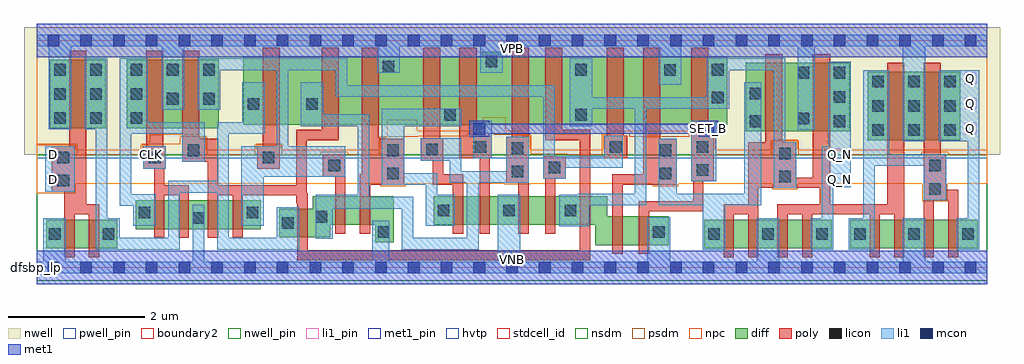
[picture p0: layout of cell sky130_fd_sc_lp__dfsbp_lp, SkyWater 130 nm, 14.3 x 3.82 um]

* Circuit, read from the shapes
.subckt sky130_fd_sc_lp__dfsbp_lp CLK D Q Q_N SET_B VGND VNB VPB VPWR
XM1 n1 D VGND VNB sky130_fd_pr__nfet_01v8 w=0.42 l=0.15
XM2 n2 D n1 VNB sky130_fd_pr__nfet_01v8 w=0.42 l=0.15
XM3 n3 CLK n4 VNB sky130_fd_pr__nfet_01v8 w=0.42 l=0.15
XM4 VGND CLK n3 VNB sky130_fd_pr__nfet_01v8 w=0.42 l=0.15
XM5 n5 n4 VGND VNB sky130_fd_pr__nfet_01v8 w=0.42 l=0.15
XM6 n6 n4 n5 VNB sky130_fd_pr__nfet_01v8 w=0.42 l=0.15
XM7 n7 n4 n2 VNB sky130_fd_pr__nfet_01v8 w=0.42 l=0.15
XM8 n8 n6 n7 VNB sky130_fd_pr__nfet_01v8 w=0.42 l=0.15
XM9 VGND n9 n8 VNB sky130_fd_pr__nfet_01v8 w=0.42 l=0.15
XM10 n10 n7 n9 VNB sky130_fd_pr__nfet_01v8 w=0.42 l=0.15
XM11 VGND SET_B n10 VNB sky130_fd_pr__nfet_01v8 w=0.42 l=0.15
XM12 n11 n7 VGND VNB sky130_fd_pr__nfet_01v8 w=0.42 l=0.15
XM13 n12 n6 n11 VNB sky130_fd_pr__nfet_01v8 w=0.42 l=0.15
XM14 n13 n4 n12 VNB sky130_fd_pr__nfet_01v8 w=0.42 l=0.15
XM15 n14 n15 n13 VNB sky130_fd_pr__nfet_01v8 w=0.42 l=0.15
XM16 VGND SET_B n14 VNB sky130_fd_pr__nfet_01v8 w=0.42 l=0.15
XM17 n16 n12 n15 VNB sky130_fd_pr__nfet_01v8 w=0.42 l=0.15
XM18 VGND n12 n16 VNB sky130_fd_pr__nfet_01v8 w=0.42 l=0.15
XM19 n17 n12 VGND VNB sky130_fd_pr__nfet_01v8 w=0.42 l=0.15
XM20 Q_N n12 n17 VNB sky130_fd_pr__nfet_01v8 w=0.42 l=0.15
XM21 n18 n12 n19 VNB sky130_fd_pr__nfet_01v8 w=0.42 l=0.15
XM22 VGND n12 n18 VNB sky130_fd_pr__nfet_01v8 w=0.42 l=0.15
XM23 n20 n19 VGND VNB sky130_fd_pr__nfet_01v8 w=0.42 l=0.15
XM24 Q n19 n20 VNB sky130_fd_pr__nfet_01v8 w=0.42 l=0.15
XM25 n2 D VPWR VPB sky130_fd_pr__pfet_01v8_hvt w=1 l=0.25
XM26 VPWR CLK n4 VPB sky130_fd_pr__pfet_01v8_hvt w=1 l=0.25
XM27 n6 n4 VPWR VPB sky130_fd_pr__pfet_01v8_hvt w=1 l=0.25
XM28 n7 n6 n2 VPB sky130_fd_pr__pfet_01v8_hvt w=1 l=0.25
XM29 n21 n4 n7 VPB sky130_fd_pr__pfet_01v8_hvt w=1 l=0.25
XM30 VPWR n9 n21 VPB sky130_fd_pr__pfet_01v8_hvt w=1 l=0.25
XM31 n9 n7 VPWR VPB sky130_fd_pr__pfet_01v8_hvt w=1 l=0.25
XM32 VPWR SET_B n9 VPB sky130_fd_pr__pfet_01v8_hvt w=1 l=0.25
XM33 n22 n7 VPWR VPB sky130_fd_pr__pfet_01v8_hvt w=1 l=0.25
XM34 n12 n4 n22 VPB sky130_fd_pr__pfet_01v8_hvt w=1 l=0.25
XM35 n23 n6 n12 VPB sky130_fd_pr__pfet_01v8_hvt w=1 l=0.25
XM36 VPWR n15 n23 VPB sky130_fd_pr__pfet_01v8_hvt w=1 l=0.25
XM37 n12 SET_B VPWR VPB sky130_fd_pr__pfet_01v8_hvt w=1 l=0.25
XM38 VPWR n12 n15 VPB sky130_fd_pr__pfet_01v8_hvt w=1 l=0.25
XM39 Q_N n12 VPWR VPB sky130_fd_pr__pfet_01v8_hvt w=1 l=0.25
XM40 VPWR n12 n19 VPB sky130_fd_pr__pfet_01v8_hvt w=1 l=0.25
XM41 Q n19 VPWR VPB sky130_fd_pr__pfet_01v8_hvt w=1 l=0.25
.ends

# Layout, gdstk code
import gdstk
lib = gdstk.Library(unit=1e-6, precision=1e-09)
def R(c, l, rs):  # rectangles x0, y0, x1, y1
    for r in rs: c.add(gdstk.rectangle(r[:2], r[2:], *l))
def A(c, l, x, y, w, h, nx, ny, dx, dy):  # array of equal rectangles
    R(c, l, [(x+i*dx, y+j*dy, x+i*dx+w, y+j*dy+h) for i in range(nx) for j in range(ny)])
def P(c, l, *ps):  # polygons
    for p in ps: c.add(gdstk.Polygon(p, *l))
nwell_pin = (64, 16)
nwell = (64, 20)
diff = (65, 20)
poly = (66, 20)
licon = (66, 44)
li1_pin = (67, 16)
li1 = (67, 20)
mcon = (67, 44)
met1_pin = (68, 16)
met1 = (68, 20)
hvtp = (78, 44)
stdcell_id = (81, 4)
nsdm = (93, 44)
psdm = (94, 20)
npc = (95, 20)
pwell_pin = (122, 16)
boundary2 = (236, 0)

sky130_fd_sc_lp__dfsbp_l = lib.new_cell('sky130_fd_sc_lp__dfsbp_lp')
R(sky130_fd_sc_lp__dfsbp_l, nwell_pin, [(0,3.085,13.92,3.33)])
R(sky130_fd_sc_lp__dfsbp_l, nwell, [(-0.19,1.655,14.11,3.52)])
R(sky130_fd_sc_lp__dfsbp_l, diff, [(0.135,0.285,1.175,0.705), (9.775,0.285,11.645,0.705), (11.915,0.285,13.785,0.705), (1.445,0.565,3.28,0.985), (12.175,1.87,13.525,2.87), (10.385,2,11.905,3), (0.19,2.045,1.01,3.045), (1.315,2.045,2.665,3.045)])
P(sky130_fd_sc_lp__dfsbp_l, diff, [(5.225,1.045),(4.04,1.045),(4.04,0.865),(3.55,0.865),(3.55,0.445),(4.295,0.445),(4.295,0.625),(4.955,0.625),(4.955,0.375),(5.225,0.375)],
  [(9.255,0.75),(8.355,0.75),(8.355,1.045),(5.81,1.045),(5.81,0.625),(8.18,0.625),(8.18,0.33),(9.255,0.33)],
  [(10.115,3.095),(6.805,3.095),(6.805,3.165),(6.515,3.165),(6.515,3.095),(3.025,3.095),(3.025,2.095),(10.115,2.095)])
P(sky130_fd_sc_lp__dfsbp_l, poly, [(0.91,0.93),(0.725,0.93),(0.725,3.175),(0.475,3.175),(0.475,1.78),(0.22,1.78),(0.22,1.11),(0.4,1.11),(0.4,0.155),(0.55,0.155),(0.55,0.78),(0.76,0.78),(0.76,0.155),(0.91,0.155)],
  [(2.225,1.21),(1.865,1.21),(1.865,1.45),(1.89,1.45),(1.89,1.78),(1.85,1.78),(1.85,3.175),(1.6,3.175),(1.6,1.78),(1.56,1.78),(1.56,1.45),(1.715,1.45),(1.715,0.435),(1.865,0.435),(1.865,1.06),(2.075,1.06),(2.075,0.435),(2.225,0.435)],
  [(3.56,3.225),(3.31,3.225),(3.31,1.78),(3.23,1.78),(3.23,1.45),(3.56,1.45)],
  [(4.52,1.66),(4.19,1.66),(4.19,1.33),(4.37,1.33),(4.37,0.495),(4.52,0.495)],
  [(5.38,1.885),(5.01,1.885),(5.01,3.225),(4.76,3.225),(4.76,1.365),(4.73,1.365),(4.73,0.495),(4.88,0.495),(4.88,1.215),(5.38,1.215)],
  [(6.245,1.365),(5.95,1.365),(5.95,1.895),(5.91,1.895),(5.91,3.225),(5.66,3.225),(5.66,1.895),(5.62,1.895),(5.62,1.565),(5.8,1.565),(5.8,1.215),(6.095,1.215),(6.095,0.495),(6.245,0.495)],
  [(6.665,1.935),(6.44,1.935),(6.44,3.225),(6.19,3.225),(6.19,1.605),(6.485,1.605),(6.485,0.495),(6.635,0.495),(6.635,1.605),(6.665,1.605)],
  [(7.205,3.225),(6.955,3.225),(6.955,1.915),(6.875,1.915),(6.875,1.245),(7.055,1.245),(7.055,0.495),(7.205,0.495)],
  [(7.745,1.63),(7.415,1.63),(7.415,1.3),(7.445,1.3),(7.445,0.495),(7.595,0.495),(7.595,1.3),(7.745,1.3)],
  [(8.105,2.02),(7.695,2.02),(7.695,3.225),(7.445,3.225),(7.445,1.87),(7.955,1.87),(7.955,0.255),(3.965,0.255),(3.965,1.09),(3.95,1.09),(3.95,1.87),(4.42,1.87),(4.42,3.225),(4.17,3.225),(4.17,2.02),(3.8,2.02),(3.8,1.21),(2.655,1.21),(2.655,1.885),(2.38,1.885),(2.38,3.175),(2.13,3.175),(2.13,1.555),(2.505,1.555),(2.505,0.435),(2.655,0.435),(2.655,1.06),(2.865,1.06),(2.865,0.435),(3.015,0.435),(3.015,1.06),(3.8,1.06),(3.8,0.94),(3.815,0.94),(3.815,0.105),(8.105,0.105)],
  [(8.645,1.935),(8.595,1.935),(8.595,3.225),(8.345,3.225),(8.345,1.935),(8.315,1.935),(8.315,1.605),(8.645,1.605)],
  [(9.375,1.885),(9.135,1.885),(9.135,3.225),(8.885,3.225),(8.885,1.365),(8.43,1.365),(8.43,0.2),(8.58,0.2),(8.58,1.215),(9.375,1.215)],
  [(9.915,1.935),(9.835,1.935),(9.835,3.225),(9.585,3.225),(9.585,1.265),(9.615,1.265),(9.615,0.975),(8.82,0.975),(8.82,0.2),(8.97,0.2),(8.97,0.825),(9.765,0.825),(9.765,1.265),(9.915,1.265)],
  [(12.71,3),(12.46,3),(12.46,0.93),(11.62,0.93),(11.62,3.13),(11.37,3.13),(11.37,1.32),(11.125,1.32),(11.125,1.84),(10.92,1.84),(10.92,3.13),(10.67,3.13),(10.67,1.84),(10.42,1.84),(10.42,0.93),(10.06,0.93),(10.06,0.155),(10.21,0.155),(10.21,0.78),(10.42,0.78),(10.42,0.155),(10.57,0.155),(10.57,1.17),(11.47,1.17),(11.47,0.93),(10.85,0.93),(10.85,0.155),(11,0.155),(11,0.78),(11.21,0.78),(11.21,0.155),(11.36,0.155),(11.36,0.78),(12.2,0.78),(12.2,0.155),(12.35,0.155),(12.35,0.78),(12.56,0.78),(12.56,0.155),(12.71,0.155)],
  [(13.5,1.14),(13.32,1.14),(13.32,1.66),(13.24,1.66),(13.24,3),(12.99,3),(12.99,0.155),(13.14,0.155),(13.14,0.99),(13.35,0.99),(13.35,0.155),(13.5,0.155)])
A(sky130_fd_sc_lp__dfsbp_l, licon, 9.835, 0.41, 0.17, 0.17, 3, 1, 0.79, 0)
A(sky130_fd_sc_lp__dfsbp_l, licon, 11.975, 0.41, 0.17, 0.17, 3, 1, 0.79, 0)
A(sky130_fd_sc_lp__dfsbp_l, licon, 12.235, 1.93, 0.17, 0.17, 3, 3, 0.53, 0.355)
A(sky130_fd_sc_lp__dfsbp_l, licon, 11.675, 2.06, 0.17, 0.17, 1, 3, 0, 0.355)
A(sky130_fd_sc_lp__dfsbp_l, licon, 0.25, 2.105, 0.17, 0.17, 1, 3, 0, 0.355)
A(sky130_fd_sc_lp__dfsbp_l, licon, 0.78, 2.105, 0.17, 0.17, 1, 3, 0, 0.355)
A(sky130_fd_sc_lp__dfsbp_l, licon, 1.375, 2.815, 0.17, 0.17, 3, 1, 0.53, 0)
R(sky130_fd_sc_lp__dfsbp_l, licon, [(0.175,0.41,0.345,0.58), (0.965,0.41,1.135,0.58), (4.995,0.435,5.165,0.605), (9.025,0.435,9.195,0.605), (3.59,0.57,3.76,0.74), (2.28,0.645,2.45,0.815), (4.085,0.66,4.255,0.83), (1.49,0.725,1.66,0.895), (3.07,0.725,3.24,0.895), (6.83,0.75,7,0.92), (7.73,0.75,7.9,0.92), (5.87,0.755,6.04,0.925), (13.07,1.07,13.24,1.24), (0.3,1.19,0.47,1.36), (10.875,1.25,11.045,1.42), (5.13,1.295,5.3,1.465), (9.125,1.295,9.295,1.465), (6.955,1.325,7.125,1.495), (9.665,1.345,9.835,1.515), (7.495,1.38,7.665,1.55), (4.27,1.41,4.44,1.58), (13.07,1.41,13.24,1.58), (0.3,1.53,0.47,1.7), (1.64,1.53,1.81,1.7), (3.31,1.53,3.48,1.7), (10.875,1.59,11.045,1.76), (2.21,1.635,2.38,1.805), (5.13,1.635,5.3,1.805), (9.125,1.635,9.295,1.805), (5.7,1.645,5.87,1.815), (6.955,1.665,7.125,1.835), (6.415,1.685,6.585,1.855), (8.395,1.685,8.565,1.855), (9.665,1.685,9.835,1.855), (10.445,2.06,10.615,2.23), (11.145,2.1,11.315,2.27), (1.375,2.105,1.545,2.275), (5.965,2.155,6.135,2.325), (7.885,2.155,8.055,2.325), (3.085,2.31,3.255,2.48), (3.945,2.31,4.115,2.48), (1.905,2.39,2.075,2.56), (2.435,2.39,2.605,2.56), (9.89,2.41,10.06,2.58), (1.375,2.46,1.545,2.63), (10.445,2.465,10.615,2.635), (11.145,2.77,11.315,2.94), (9.19,2.81,9.36,2.98), (7.885,2.815,8.055,2.985), (9.89,2.815,10.06,2.985), (5.065,2.86,5.235,3.03), (6.575,2.935,6.745,3.105)])
A(sky130_fd_sc_lp__dfsbp_l, li1_pin, 13.595, 1.95, 0.17, 0.17, 1, 3, 0, 0.37)
R(sky130_fd_sc_lp__dfsbp_l, li1_pin, [(0.155,1.21,0.325,1.38), (11.675,1.21,11.845,1.38), (0.155,1.58,0.325,1.75), (1.595,1.58,1.765,1.75), (11.675,1.58,11.845,1.75)])
R(sky130_fd_sc_lp__dfsbp_l, li1, [(0.125,1.11,0.55,1.78), (9.585,1.265,9.955,2.15), (1.56,1.45,1.89,1.78), (6.395,1.605,6.665,2.15)])
P(sky130_fd_sc_lp__dfsbp_l, li1, [(11.495,0.725),(11.495,1.78),(11.595,1.78),(11.595,3.02),(11.925,3.02),(11.925,1.18),(11.665,1.18),(11.665,0.265),(11.335,0.265),(11.335,0.725)],
  [(0.17,2.025),(0.17,3.245),(0,3.245),(0,3.415),(13.92,3.415),(13.92,3.245),(13.015,3.245),(13.015,1.85),(12.685,1.85),(12.685,3.245),(11.395,3.245),(11.395,2.02),(11.145,2.02),(11.145,3.245),(9.44,3.245),(9.44,2.68),(9.11,2.68),(9.11,3.245),(6.825,3.245),(6.825,2.855),(6.495,2.855),(6.495,3.245),(5.315,3.245),(5.315,2.855),(4.985,2.855),(4.985,3.245),(2.155,3.245),(2.155,2.31),(1.825,2.31),(1.825,3.245),(0.5,3.245),(0.5,2.025)],
  [(2.28,0.085),(2.28,0.92),(2.45,0.92),(2.45,0.085),(4.915,0.085),(4.915,0.685),(5.165,0.685),(5.165,0.085),(6.75,0.085),(6.75,1.065),(7.08,1.065),(7.08,0.085),(8.945,0.085),(8.945,0.735),(9.275,0.735),(9.275,0.085),(10.545,0.085),(10.545,0.725),(10.875,0.725),(10.875,0.085),(12.685,0.085),(12.685,0.725),(13.015,0.725),(13.015,0.085),(13.92,0.085),(13.92,-0.085),(0,-0.085),(0,0.085),(0.095,0.085),(0.095,0.725),(0.425,0.725),(0.425,0.085)],
  [(12.485,1.66),(13.32,1.66),(13.32,0.99),(12.99,0.99),(12.99,1.49),(12.275,1.49),(12.275,0.265),(11.895,0.265),(11.895,0.725),(12.105,0.725),(12.105,2.89),(12.485,2.89)],
  [(4.545,2.675),(7.585,2.675),(7.585,1.63),(8.315,1.63),(8.315,1.935),(8.58,1.935),(8.58,1.46),(7.745,1.46),(7.745,1.3),(7.415,1.3),(7.415,2.505),(4.375,2.505),(4.375,2.895),(3.685,2.895),(3.685,1.78),(4.52,1.78),(4.52,1.33),(3.32,1.33),(3.32,0.615),(2.99,0.615),(2.99,1.78),(3.515,1.78),(3.515,2.895),(2.685,2.895),(2.685,2.31),(2.355,2.31),(2.355,3.065),(4.545,3.065)],
  [(5.38,1.385),(5.865,1.385),(5.865,1.065),(6.12,1.065),(6.12,0.615),(5.695,0.615),(5.695,1.215),(5.05,1.215),(5.05,2.325),(6.215,2.325),(6.215,2.075),(5.38,2.075)],
  [(6.045,1.245),(6.045,1.565),(5.62,1.565),(5.62,1.895),(6.215,1.895),(6.215,1.415),(6.875,1.415),(6.875,1.915),(7.205,1.915),(7.205,1.245),(6.47,1.245),(6.47,0.265),(5.345,0.265),(5.345,0.865),(4.335,0.865),(4.335,0.425),(4.085,0.425),(4.085,1.065),(4.7,1.065),(4.7,2.075),(3.865,2.075),(3.865,2.715),(4.195,2.715),(4.195,2.245),(4.87,2.245),(4.87,1.035),(5.515,1.035),(5.515,0.435),(6.3,0.435),(6.3,1.245)],
  [(13.215,1.85),(13.215,2.89),(13.805,2.89),(13.805,0.265),(13.475,0.265),(13.475,0.725),(13.635,0.725),(13.635,1.85)],
  [(1.625,2.13),(2.46,2.13),(2.46,1.555),(2.13,1.555),(2.13,1.96),(1.38,1.96),(1.38,1.075),(1.74,1.075),(1.74,0.615),(1.41,0.615),(1.41,0.905),(1.21,0.905),(1.21,3.065),(1.625,3.065)],
  [(9.375,1.085),(10.365,1.085),(10.365,2.715),(10.615,2.715),(10.615,0.915),(10.085,0.915),(10.085,0.265),(9.755,0.265),(9.755,0.915),(9.11,0.915),(9.11,1.885),(9.375,1.885)],
  [(1.92,0.435),(1.92,1.27),(2.64,1.27),(2.64,2.13),(3.005,2.13),(3.005,2.715),(3.335,2.715),(3.335,1.96),(2.81,1.96),(2.81,0.435),(3.51,0.435),(3.51,0.885),(3.84,0.885),(3.84,0.265),(2.64,0.265),(2.64,1.1),(2.09,1.1),(2.09,0.265),(0.86,0.265),(0.86,2.025),(0.7,2.025),(0.7,3.065),(1.03,3.065),(1.03,0.725),(1.215,0.725),(1.215,0.435)],
  [(8.76,1.085),(8.76,2.33),(8.135,2.33),(8.135,2.075),(7.805,2.075),(7.805,3.065),(8.135,3.065),(8.135,2.5),(9.81,2.5),(9.81,3.065),(10.965,3.065),(10.965,1.84),(11.125,1.84),(11.125,1.17),(10.795,1.17),(10.795,2.895),(10.14,2.895),(10.14,2.33),(8.93,2.33),(8.93,0.915),(8.095,0.915),(8.095,0.605),(7.65,0.605),(7.65,1.065),(7.925,1.065),(7.925,1.085)])
A(sky130_fd_sc_lp__dfsbp_l, mcon, 0.155, -0.085, 0.17, 0.17, 29, 2, 0.48, 3.33)
R(sky130_fd_sc_lp__dfsbp_l, mcon, [(6.395,1.95,6.565,2.12), (9.755,1.95,9.925,2.12)])
R(sky130_fd_sc_lp__dfsbp_l, met1_pin, [(0,0,13.92,0.245), (9.755,1.95,9.925,2.12), (0,3.085,13.92,3.33)])
R(sky130_fd_sc_lp__dfsbp_l, met1, [(0,-0.245,13.92,0.245), (0,3.085,13.92,3.575)])
P(sky130_fd_sc_lp__dfsbp_l, met1, [(6.625,2.105),(9.695,2.105),(9.695,2.15),(9.985,2.15),(9.985,1.92),(9.695,1.92),(9.695,1.965),(6.625,1.965),(6.625,1.92),(6.335,1.92),(6.335,2.15),(6.625,2.15)])
R(sky130_fd_sc_lp__dfsbp_l, hvtp, [(0,1.6,13.92,3.33)])
R(sky130_fd_sc_lp__dfsbp_l, stdcell_id, [(0,0,13.92,3.33)])
R(sky130_fd_sc_lp__dfsbp_l, nsdm, [(0,-0.19,13.92,1.655)])
P(sky130_fd_sc_lp__dfsbp_l, psdm, [(13.92,3.52),(0,3.52),(0,1.81),(0.58,1.81),(0.58,1.655),(1.53,1.655),(1.53,1.81),(2.1,1.81),(2.1,1.915),(2.49,1.915),(2.49,1.655),(3.2,1.655),(3.2,1.81),(3.59,1.81),(3.59,1.655),(4.16,1.655),(4.16,1.69),(4.55,1.69),(4.55,1.655),(5.02,1.655),(5.02,1.915),(5.59,1.915),(5.59,1.925),(6.305,1.925),(6.305,1.965),(6.695,1.965),(6.695,1.945),(7.235,1.945),(7.235,1.66),(7.775,1.66),(7.775,1.655),(8.285,1.655),(8.285,1.965),(8.675,1.965),(8.675,1.915),(9.555,1.915),(9.555,1.965),(9.945,1.965),(9.945,1.655),(10.765,1.655),(10.765,1.87),(11.155,1.87),(11.155,1.655),(12.96,1.655),(12.96,1.69),(13.35,1.69),(13.35,1.655),(13.92,1.655)])
P(sky130_fd_sc_lp__dfsbp_l, npc, [(13.92,1.73),(11.145,1.73),(11.145,1.86),(10.775,1.86),(10.775,1.73),(9.935,1.73),(9.935,1.955),(9.83,1.955),(9.83,2.005),(8.4,2.005),(8.4,1.955),(8.295,1.955),(8.295,1.73),(7.225,1.73),(7.225,1.935),(7.12,1.935),(7.12,2.005),(6.865,2.005),(6.865,2.2),(6.53,2.2),(6.53,2.005),(5.57,2.005),(5.57,2.17),(5.135,2.17),(5.135,1.905),(5.03,1.905),(5.03,1.73),(3.58,1.73),(3.58,1.8),(3.21,1.8),(3.21,1.73),(2.48,1.73),(2.48,1.905),(2.375,1.905),(2.375,1.955),(1.645,1.955),(1.645,1.8),(1.54,1.8),(1.54,1.73),(0.57,1.73),(0.57,1.8),(0,1.8),(0,1.09),(0.57,1.09),(0.57,1.23),(5.03,1.23),(5.03,1.195),(5.4,1.195),(5.4,1.23),(6.855,1.23),(6.855,1.225),(7.225,1.225),(7.225,1.23),(9.025,1.23),(9.025,1.195),(9.395,1.195),(9.395,1.23),(10.775,1.23),(10.775,1.15),(11.145,1.15),(11.145,1.23),(12.97,1.23),(12.97,0.97),(13.34,0.97),(13.34,1.23),(13.92,1.23)])
R(sky130_fd_sc_lp__dfsbp_l, pwell_pin, [(0,0,13.92,0.245)])
R(sky130_fd_sc_lp__dfsbp_l, boundary2, [(0,0,13.92,3.33)])
sky130_fd_sc_lp__dfsbp_l.add(gdstk.Label('VNB', (6.96,0.123), layer=64, texttype=59))
sky130_fd_sc_lp__dfsbp_l.add(gdstk.Label('VPB', (6.96,3.208), layer=64, texttype=5))
sky130_fd_sc_lp__dfsbp_l.add(gdstk.Label('dfsbp_lp', (0,0), layer=83, texttype=44))
sky130_fd_sc_lp__dfsbp_l.add(gdstk.Label('SET_B', (9.84,2.035), layer=68, texttype=5))
sky130_fd_sc_lp__dfsbp_l.add(gdstk.Label('VPWR', (6.96,3.208), layer=68, texttype=5))
sky130_fd_sc_lp__dfsbp_l.add(gdstk.Label('VGND', (6.96,0.123), layer=68, texttype=5))
sky130_fd_sc_lp__dfsbp_l.add(gdstk.Label('Q_N', (11.76,1.295), layer=67, texttype=5))
sky130_fd_sc_lp__dfsbp_l.add(gdstk.Label('Q_N', (11.76,1.665), layer=67, texttype=5))
sky130_fd_sc_lp__dfsbp_l.add(gdstk.Label('D', (0.24,1.295), layer=67, texttype=5))
sky130_fd_sc_lp__dfsbp_l.add(gdstk.Label('D', (0.24,1.665), layer=67, texttype=5))
sky130_fd_sc_lp__dfsbp_l.add(gdstk.Label('CLK', (1.68,1.665), layer=67, texttype=5))
sky130_fd_sc_lp__dfsbp_l.add(gdstk.Label('Q', (13.68,2.035), layer=67, texttype=5))
sky130_fd_sc_lp__dfsbp_l.add(gdstk.Label('Q', (13.68,2.405), layer=67, texttype=5))
sky130_fd_sc_lp__dfsbp_l.add(gdstk.Label('Q', (13.68,2.775), layer=67, texttype=5))

lib.write_gds('sky130_fd_sc_lp__dfsbp_lp.gds')
